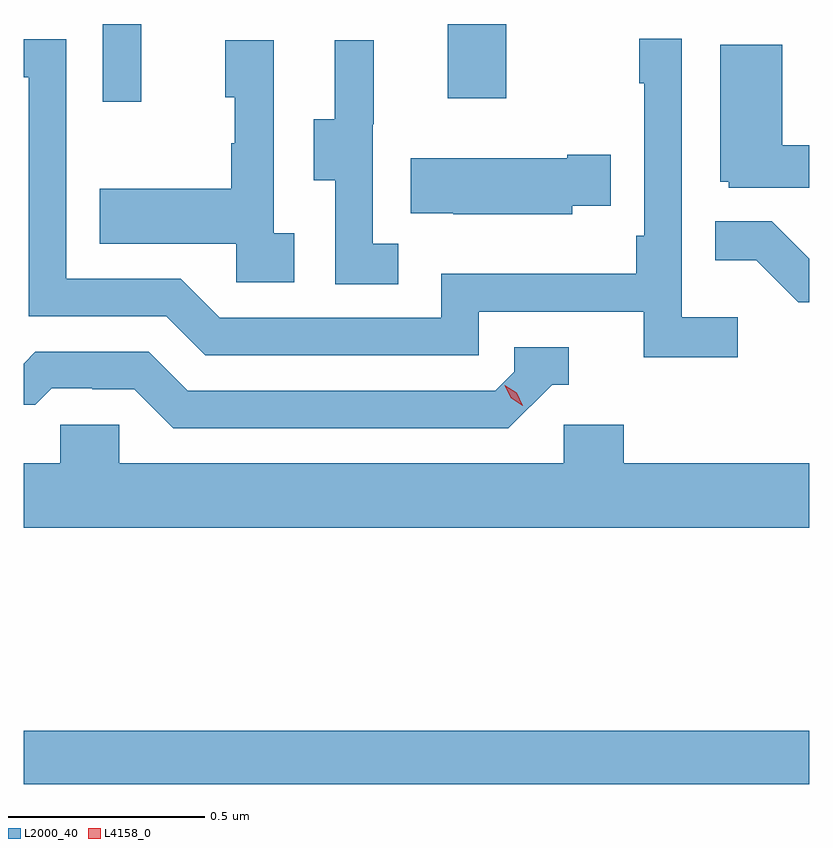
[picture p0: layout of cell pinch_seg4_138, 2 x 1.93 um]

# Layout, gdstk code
import gdstk
lib = gdstk.Library(unit=1e-6, precision=1e-09)
def R(c, l, rs):  # rectangles x0, y0, x1, y1
    for r in rs: c.add(gdstk.rectangle(r[:2], r[2:], *l))
def P(c, l, *ps):  # polygons
    for p in ps: c.add(gdstk.Polygon(p, *l))
L2000_40 = (2000, 40)
L4158_0 = (4158, 0)

pinch_seg4_138 = lib.new_cell('pinch_seg4_138')
R(pinch_seg4_138, L2000_40, [(1042.469,801.496,1044.469,801.632), (1042.671,803.232,1042.769,803.43), (1043.549,803.241,1043.697,803.43)])
P(pinch_seg4_138, L2000_40, [(1044.286,802.684),(1044.144,802.684),(1044.144,803.392),(1044.036,803.392),(1044.036,803.279),(1044.048,803.279),(1044.048,802.891),(1044.028,802.891),(1044.028,802.795),(1043.532,802.795),(1043.532,802.683),(1042.968,802.683),(1042.869,802.782),(1042.578,802.782),(1042.578,803.391),(1042.469,803.391),(1042.469,803.295),(1042.482,803.295),(1042.482,802.686),(1042.832,802.686),(1042.931,802.587),(1043.628,802.587),(1043.628,802.698),(1044.047,802.698),(1044.047,802.582),(1044.286,802.582)],
  [(1043.158,802.898),(1043.106,802.898),(1043.106,803.389),(1042.982,803.389),(1042.982,803.244),(1043.007,803.244),(1043.007,803.126),(1042.998,803.126),(1042.998,803.011),(1042.663,803.011),(1042.663,802.871),(1043.01,802.871),(1043.01,802.773),(1043.158,802.773)],
  [(1043.422,802.871),(1043.358,802.871),(1043.358,803.175),(1043.36,803.175),(1043.36,803.389),(1043.261,803.389),(1043.261,803.187),(1043.207,803.187),(1043.207,803.032),(1043.262,803.032),(1043.262,802.768),(1043.422,802.768)],
  [(1044.469,803.122),(1044.4,803.122),(1044.4,803.377),(1044.242,803.377),(1044.242,803.028),(1044.264,803.028),(1044.264,803.013),(1044.469,803.013)],
  [(1043.865,802.967),(1043.963,802.967),(1043.963,803.097),(1043.852,803.097),(1043.852,803.089),(1043.455,803.089),(1043.455,802.949),(1043.563,802.949),(1043.563,802.946),(1043.865,802.946)],
  [(1044.469,802.832),(1044.373,802.928),(1044.229,802.928),(1044.229,802.829),(1044.333,802.829),(1044.44,802.722),(1044.469,802.722)],
  [(1043.814,802.512),(1043.857,802.512),(1043.857,802.608),(1043.718,802.608),(1043.718,802.545),(1043.67,802.497),(1042.887,802.497),(1042.788,802.596),(1042.499,802.596),(1042.469,802.566),(1042.469,802.461),(1042.499,802.461),(1042.541,802.503),(1042.644,802.503),(1042.644,802.5),(1042.751,802.5),(1042.85,802.401),(1043.703,802.401)],
  [(1044.469,802.312),(1043.996,802.312),(1043.996,802.41),(1043.844,802.41),(1043.844,802.312),(1042.713,802.312),(1042.713,802.41),(1042.563,802.41),(1042.563,802.312),(1042.469,802.312),(1042.469,802.148),(1044.469,802.148)])
P(pinch_seg4_138, L4158_0, [(1043.74,802.458),(1043.71,802.478),(1043.693,802.51),(1043.693,802.511),(1043.694,802.511),(1043.724,802.491),(1043.74,802.458),(1043.74,802.458)])

lib.write_gds('pinch_seg4_138.gds')
